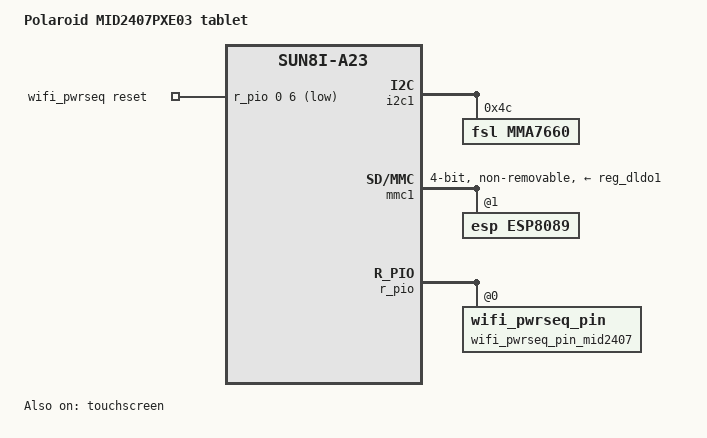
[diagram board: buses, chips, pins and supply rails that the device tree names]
/*
 * Copyright 2016 Hans de Goede <hdegoede@redhat.com>
 *
 * This file is dual-licensed: you can use it either under the terms
 * of the GPL or the X11 license, at your option. Note that this dual
 * licensing only applies to this file, and not this project as a
 * whole.
 *
 *  a) This file is free software; you can redistribute it and/or
 *     modify it under the terms of the GNU General Public License as
 *     published by the Free Software Foundation; either version 2 of the
 *     License, or (at your option) any later version.
 *
 *     This file is distributed in the hope that it will be useful,
 *     but WITHOUT ANY WARRANTY; without even the implied warranty of
 *     MERCHANTABILITY or FITNESS FOR A PARTICULAR PURPOSE.  See the
 *     GNU General Public License for more details.
 *
 * Or, alternatively,
 *
 *  b) Permission is hereby granted, free of charge, to any person
 *     obtaining a copy of this software and associated documentation
 *     files (the "Software"), to deal in the Software without
 *     restriction, including without limitation the rights to use,
 *     copy, modify, merge, publish, distribute, sublicense, and/or
 *     sell copies of the Software, and to permit persons to whom the
 *     Software is furnished to do so, subject to the following
 *     conditions:
 *
 *     The above copyright notice and this permission notice shall be
 *     included in all copies or substantial portions of the Software.
 *
 *     THE SOFTWARE IS PROVIDED "AS IS", WITHOUT WARRANTY OF ANY KIND,
 *     EXPRESS OR IMPLIED, INCLUDING BUT NOT LIMITED TO THE WARRANTIES
 *     OF MERCHANTABILITY, FITNESS FOR A PARTICULAR PURPOSE AND
 *     NONINFRINGEMENT. IN NO EVENT SHALL THE AUTHORS OR COPYRIGHT
 *     HOLDERS BE LIABLE FOR ANY CLAIM, DAMAGES OR OTHER LIABILITY,
 *     WHETHER IN AN ACTION OF CONTRACT, TORT OR OTHERWISE, ARISING
 *     FROM, OUT OF OR IN CONNECTION WITH THE SOFTWARE OR THE USE OR
 *     OTHER DEALINGS IN THE SOFTWARE.
 */

/dts-v1/;
#include "sun8i-a23.dtsi"
#include "sun8i-reference-design-tablet.dtsi"

/ {
	model = "Polaroid MID2407PXE03 tablet";
	compatible = "polaroid,mid2407pxe03", "allwinner,sun8i-a23";

	aliases {
		ethernet0 = &esp8089;
	};

	wifi_pwrseq: wifi_pwrseq {
		compatible = "mmc-pwrseq-simple";
		pinctrl-names = "default";
		pinctrl-0 = <&wifi_pwrseq_pin_mid2407>;
		reset-gpios = <&r_pio 0 6 GPIO_ACTIVE_LOW>; /* PL6 */
		/* The esp8089 needs 200 ms after driving wifi-en high */
		post-power-on-delay-ms = <200>;
	};
};

&i2c1 {
	mma7660: accelerometer@4c {
		reg = <0x4c>;
		compatible = "fsl,mma7660";
	};
};

&mmc1 {
	pinctrl-names = "default";
	pinctrl-0 = <&mmc1_pins_a>;
	vmmc-supply = <&reg_dldo1>;
	mmc-pwrseq = <&wifi_pwrseq>;
	bus-width = <4>;
	non-removable;
	status = "okay";

	esp8089: sdio_wifi@1 {
		compatible = "esp,esp8089";
		reg = <1>;
		esp,crystal-26M-en = <2>;
	};
};

&mmc1_pins_a {
	allwinner,pull = <SUN4I_PINCTRL_PULL_UP>;
};

&r_pio {
	wifi_pwrseq_pin_mid2407: wifi_pwrseq_pin@0 {
		allwinner,pins = "PL6";
		allwinner,function = "gpio_out";
		allwinner,drive = <SUN4I_PINCTRL_10_MA>;
		allwinner,pull = <SUN4I_PINCTRL_NO_PULL>;
	};
};

&touchscreen {
	reg = <0x40>;
	compatible = "silead,gsl1680";
	firmware-name = "gsl1680-polaroid-mid2407pxe03.fw";
	touchscreen-size-x = <960>;
	touchscreen-size-y = <640>;
	touchscreen-inverted-x;
	touchscreen-inverted-y;
	vddio-supply = <&reg_ldo_io1>;
	status = "okay";
};
